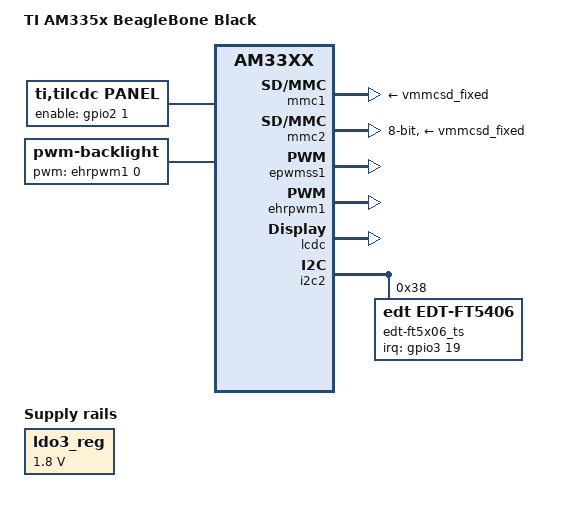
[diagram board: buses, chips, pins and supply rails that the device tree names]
/*
 * Copyright (C) 2020 Jumpnow Technologies, LLC - http://jumpnowtek.com
 *
 * This program is free software; you can redistribute it and/or modify
 * it under the terms of the GNU General Public License version 2 as
 * published by the Free Software Foundation.
 */

/dts-v1/;

#include "am33xx.dtsi"
#include "am335x-bone-common.dtsi"
#include "bbb-spi1-spidev.dtsi"
#include "bbb-i2c1.dtsi"
#include "bbb-i2c2.dtsi"
#include "bbb-uart4.dtsi"

/ {
	model = "TI AM335x BeagleBone Black";
	compatible = "ti,am335x-bone-black", "ti,am335x-bone", "ti,am33xx";
};

&ldo3_reg {
	regulator-min-microvolt = <1800000>;
	regulator-max-microvolt = <1800000>;
	regulator-always-on;
};

&mmc1 {
	vmmc-supply = <&vmmcsd_fixed>;
};

&mmc2 {
	vmmc-supply = <&vmmcsd_fixed>;
	pinctrl-names = "default";
	pinctrl-0 = <&emmc_pins>;
	bus-width = <8>;
	status = "okay";
};

&am33xx_pinmux {
	lcd_pins: pinmux-lcd-pins {
		pinctrl-single,pins = <
			AM33XX_IOPAD(0x8a0, PIN_OUTPUT | MUX_MODE0)            /* P8.45, lcd_data0 */
			AM33XX_IOPAD(0x8a4, PIN_OUTPUT | MUX_MODE0)            /* P8.46, lcd_data1 */
			AM33XX_IOPAD(0x8a8, PIN_OUTPUT | MUX_MODE0)            /* P8.43, lcd_data2 */
			AM33XX_IOPAD(0x8ac, PIN_OUTPUT | MUX_MODE0)            /* P8.44, lcd_data3 */
			AM33XX_IOPAD(0x8b0, PIN_OUTPUT | MUX_MODE0)            /* P8.41, lcd_data4 */
			AM33XX_IOPAD(0x8b4, PIN_OUTPUT | MUX_MODE0)            /* P8.42, lcd_data5 */
			AM33XX_IOPAD(0x8b8, PIN_OUTPUT | MUX_MODE0)            /* P8.39, lcd_data6 */
			AM33XX_IOPAD(0x8bc, PIN_OUTPUT | MUX_MODE0)            /* P8.40, lcd_data7 */
			AM33XX_IOPAD(0x8c0, PIN_OUTPUT | MUX_MODE0)            /* P8.37, lcd_data8 */
			AM33XX_IOPAD(0x8c4, PIN_OUTPUT | MUX_MODE0)            /* P8.38, lcd_data9 */
			AM33XX_IOPAD(0x8c8, PIN_OUTPUT | MUX_MODE0)            /* P8.36, lcd_data10 */
			AM33XX_IOPAD(0x8cc, PIN_OUTPUT | MUX_MODE0)            /* P8.34, lcd_data11 */
			AM33XX_IOPAD(0x8d0, PIN_OUTPUT | MUX_MODE0)            /* P8.35, lcd_data12 */
			AM33XX_IOPAD(0x8d4, PIN_OUTPUT | MUX_MODE0)            /* P8.33, lcd_data13 */
			AM33XX_IOPAD(0x8d8, PIN_OUTPUT | MUX_MODE0)            /* P8.31, lcd_data14 */
			AM33XX_IOPAD(0x8dc, PIN_OUTPUT | MUX_MODE0)            /* P8.32, lcd_data15 */
			AM33XX_IOPAD(0x83c, PIN_OUTPUT | MUX_MODE1)            /* P8.15, lcd_data16 */
			AM33XX_IOPAD(0x838, PIN_OUTPUT | MUX_MODE1)            /* P8.16, lcd_data17 */
			AM33XX_IOPAD(0x834, PIN_OUTPUT | MUX_MODE1)            /* P8.11, lcd_data18 */
			AM33XX_IOPAD(0x830, PIN_OUTPUT | MUX_MODE1)            /* P8.12, lcd_data19 */
			AM33XX_IOPAD(0x82c, PIN_OUTPUT | MUX_MODE1)            /* P8.17, lcd_data20 */
			AM33XX_IOPAD(0x828, PIN_OUTPUT | MUX_MODE1)            /* P8.14, lcd_data21 */
			AM33XX_IOPAD(0x824, PIN_OUTPUT | MUX_MODE1)            /* P8.13, lcd_data22 */
			AM33XX_IOPAD(0x820, PIN_OUTPUT | MUX_MODE1)            /* P8.19, lcd_data23 */
			AM33XX_IOPAD(0x8e0, PIN_OUTPUT_PULLDOWN | MUX_MODE0)   /* P8.27, lcd_vsync */
			AM33XX_IOPAD(0x8e4, PIN_OUTPUT_PULLDOWN | MUX_MODE0)   /* P8.29, lcd_hsync */
			AM33XX_IOPAD(0x8e8, PIN_OUTPUT_PULLDOWN | MUX_MODE0)   /* P8.28, lcd_pclk */
			AM33XX_IOPAD(0x8ec, PIN_OUTPUT_PULLDOWN | MUX_MODE0)   /* P8.30, lcd_ac_bias_en */
			/* LCD enable */
			AM33XX_IOPAD(0x88c, PIN_OUTPUT_PULLUP | MUX_MODE7)     /* P8.18, gpio2[1] */
		>;
	};

	backlight_pins: pinmux-backlight-pins {
		pinctrl-single,pins = <
			AM33XX_IOPAD(0x848, PIN_OUTPUT_PULLDOWN | MUX_MODE6)   /* P9.14, ehrpwm1A */
		>;
	};

	touchscreen_pins: pinmux-touchscreen-pins {
		pinctrl-single,pins = <
			AM33XX_IOPAD(0x9a4, PIN_INPUT_PULLUP | MUX_MODE7)      /* P9.27, gpio3[19] */
		>;
	};
};

&epwmss1 {
	status = "okay";
};

&ehrpwm1 {
	status = "okay";
	pinctrl-names = "default";
	pinctrl-0 = <&backlight_pins>;
};

&lcdc {
	status = "okay";
};

/ {
	lcd0: display {
		status = "okay";
		compatible = "ti,tilcdc,panel";
		label = "lcd";
		pinctrl-names = "default";
		pinctrl-0 = <&lcd_pins>;
		enable-gpios = <&gpio2 1 GPIO_ACTIVE_HIGH>; /* P8.18 */

		panel-info {
			ac-bias           = <255>;
			ac-bias-intrpt    = <0>;
			dma-burst-sz      = <16>;
			bpp               = <32>;
			fdd               = <0x80>;
			tft-alt-mode      = <0>;
			stn-565-mode      = <0>;
			mono-8bit-mode    = <0>;
			sync-edge         = <0>;
			sync-ctrl         = <0>;
			raster-order      = <0>;
			fifo-th           = <0>;
		};

		display-timings {
			native-mode = <&timing0>;
			timing0: 800x480 {
				clock-frequency = <45000000>;
				hactive = <800>;
				vactive = <480>;
				hfront-porch = <40>;
				hback-porch = <40>;
				hsync-len = <48>;
				vback-porch = <29>;
				vfront-porch = <13>;
				vsync-len = <3>;
				hsync-active = <0>;
				vsync-active = <0>;
			};
		};
	};

	backlight {
		status = "okay";
		compatible = "pwm-backlight";
		pwms = <&ehrpwm1 0 5000000 0>;
		brightness-levels = <0 1 2 3 4 5 6 7 8 9 10>;
		num-interpolated-steps = <10>;
		default-brightness-level = <10>;
	};
};

&i2c2 {
	edt-ft5x06_ts@38 {
		status = "okay";
		compatible = "edt,edt-ft5406", "edt,edt-ft5x06";
		reg = <0x38>;
		pinctrl-names = "default";
		pinctrl-0 = <&touchscreen_pins>;
		interrupt-parent = <&gpio3>;
		interrupts = <19 0>;		/* P9.27 */

		touchscreen-size-x = <800>;
		touchscreen-size-y = <480>;
	};
};

&rtc {
	system-power-controller;
};

